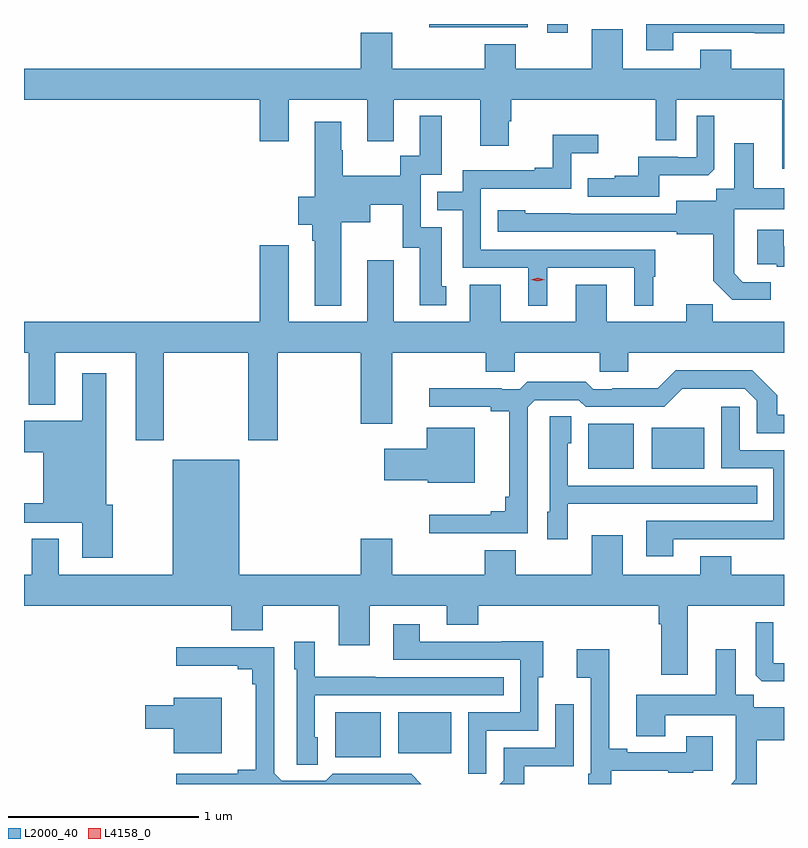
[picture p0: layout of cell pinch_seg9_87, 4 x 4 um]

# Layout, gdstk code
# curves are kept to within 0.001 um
import gdstk
lib = gdstk.Library(unit=1e-6, precision=1e-09)
def R(c, l, rs):  # rectangles x0, y0, x1, y1
    for r in rs: c.add(gdstk.rectangle(r[:2], r[2:], *l))
def P(c, l, *ps):  # polygons
    for p in ps: c.add(gdstk.Polygon(p, *l))
L2000_40 = (2000, 40)
L4158_0 = (4158, 0)

pinch_seg9_87 = lib.new_cell('pinch_seg9_87')
R(pinch_seg9_87, L2000_40, [(1111.925,1199.621,1112.164,1199.857), (1112.258,1199.642,1112.536,1199.857), (1113.257,1201.139,1113.496,1201.375), (1113.59,1201.139,1113.868,1201.354), (1113.041,1203.432,1113.15,1203.479), (1112.421,1203.462,1112.937,1203.479)])
P(pinch_seg9_87, L2000_40, [(1113.703,1203.432),(1114.133,1203.432),(1114.133,1203.431),(1114.287,1203.431),(1114.287,1203.479),(1113.563,1203.479),(1113.563,1203.342),(1113.703,1203.342)],
  [(1114.287,1203.244),(1114.009,1203.244),(1114.009,1203.343),(1113.845,1203.343),(1113.845,1203.244),(1113.439,1203.244),(1113.439,1203.451),(1113.275,1203.451),(1113.275,1203.244),(1112.875,1203.244),(1112.875,1203.373),(1112.711,1203.373),(1112.711,1203.244),(1112.224,1203.244),(1112.224,1203.433),(1112.06,1203.433),(1112.06,1203.244),(1110.287,1203.244),(1110.287,1203.08),(1111.529,1203.08),(1111.529,1202.862),(1111.681,1202.862),(1111.681,1203.08),(1112.093,1203.08),(1112.093,1202.862),(1112.233,1202.862),(1112.233,1203.08),(1112.687,1203.08),(1112.687,1202.838),(1112.839,1202.838),(1112.839,1202.967),(1112.852,1202.967),(1112.852,1203.08),(1113.612,1203.08),(1113.612,1202.866),(1113.72,1202.866),(1113.72,1203.08),(1114.277,1203.08),(1114.277,1202.718),(1114.287,1202.718)],
  [(1113.631,1202.684),(1113.889,1202.684),(1113.921,1202.715),(1113.921,1202.995),(1113.828,1202.995),(1113.828,1202.778),(1113.728,1202.778),(1113.728,1202.781),(1113.521,1202.781),(1113.521,1202.68),(1113.397,1202.68),(1113.397,1202.668),(1113.253,1202.668),(1113.253,1202.571),(1113.631,1202.571)],
  [(1111.957,1202.435),(1112.11,1202.435),(1112.11,1202.528),(1112.28,1202.528),(1112.28,1202.301),(1112.369,1202.301),(1112.369,1201.998),(1112.509,1201.998),(1112.509,1202.1),(1112.485,1202.1),(1112.485,1202.409),(1112.376,1202.409),(1112.376,1202.685),(1112.485,1202.685),(1112.485,1202.995),(1112.369,1202.995),(1112.369,1202.786),(1112.268,1202.786),(1112.268,1202.68),(1111.965,1202.68),(1111.965,1202.814),(1111.957,1202.814),(1111.957,1202.965),(1111.817,1202.965),(1111.817,1202.57),(1111.73,1202.57),(1111.73,1202.423),(1111.805,1202.423),(1111.805,1202.339),(1111.817,1202.339),(1111.817,1201.997),(1111.957,1201.997)],
  [(1113.04,1202.196),(1113.5,1202.196),(1113.5,1201.997),(1113.598,1201.997),(1113.598,1202.148),(1113.61,1202.148),(1113.61,1202.292),(1112.691,1202.292),(1112.691,1202.613),(1113.168,1202.613),(1113.168,1202.798),(1113.31,1202.798),(1113.31,1202.897),(1113.07,1202.897),(1113.07,1202.722),(1112.975,1202.722),(1112.975,1202.709),(1112.595,1202.709),(1112.595,1202.595),(1112.461,1202.595),(1112.461,1202.499),(1112.595,1202.499),(1112.595,1202.196),(1112.942,1202.196),(1112.942,1201.997),(1113.04,1201.997)],
  [(1114.216,1202.121),(1114.071,1202.121),(1114.024,1202.168),(1114.024,1202.263),(1114.026,1202.263),(1114.026,1202.504),(1114.287,1202.504),(1114.287,1202.614),(1114.129,1202.614),(1114.129,1202.851),(1114.025,1202.851),(1114.025,1202.612),(1113.93,1202.612),(1113.93,1202.548),(1113.719,1202.548),(1113.719,1202.481),(1112.925,1202.482),(1112.925,1202.5),(1112.781,1202.5),(1112.781,1202.385),(1113.723,1202.385),(1113.723,1202.373),(1113.915,1202.373),(1113.915,1202.127),(1114.015,1202.027),(1114.216,1202.027)],
  [(1114.287,1202.31),(1114.285,1202.31),(1114.285,1202.395),(1114.145,1202.395),(1114.145,1202.214),(1114.249,1202.214),(1114.249,1202.202),(1114.287,1202.202)],
  [(1111.023,1201.748),(1111.468,1201.748),(1111.468,1201.287),(1111.623,1201.287),(1111.623,1201.748),(1112.06,1201.748),(1112.06,1201.374),(1112.224,1201.374),(1112.224,1201.748),(1112.716,1201.748),(1112.716,1201.65),(1112.871,1201.65),(1112.871,1201.748),(1113.316,1201.748),(1113.316,1201.65),(1113.466,1201.65),(1113.466,1201.748),(1114.287,1201.748),(1114.287,1201.912),(1113.911,1201.912),(1113.911,1202.003),(1113.773,1202.003),(1113.773,1201.912),(1113.355,1201.912),(1113.355,1202.107),(1113.191,1202.107),(1113.191,1201.912),(1112.797,1201.912),(1112.797,1202.107),(1112.633,1202.107),(1112.633,1201.912),(1112.233,1201.912),(1112.233,1202.236),(1112.093,1202.236),(1112.093,1201.912),(1111.681,1201.912),(1111.681,1202.314),(1111.529,1202.314),(1111.529,1201.912),(1110.287,1201.912),(1110.287,1201.748),(1110.311,1201.748),(1110.311,1201.475),(1110.451,1201.475),(1110.451,1201.748),(1110.875,1201.748),(1110.875,1201.287),(1111.023,1201.287)],
  [(1112.937,1201.461),(1112.976,1201.5),(1113.207,1201.5),(1113.243,1201.464),(1113.657,1201.464),(1113.752,1201.559),(1114.08,1201.56),(1114.143,1201.497),(1114.143,1201.326),(1114.287,1201.326),(1114.287,1201.423),(1114.251,1201.423),(1114.251,1201.526),(1114.12,1201.656),(1113.717,1201.656),(1113.623,1201.562),(1113.382,1201.562),(1113.382,1201.557),(1113.282,1201.557),(1113.243,1201.597),(1112.935,1201.597),(1112.895,1201.557),(1112.801,1201.557),(1112.801,1201.562),(1112.421,1201.562),(1112.421,1201.464),(1112.744,1201.464),(1112.744,1201.442),(1112.84,1201.442),(1112.84,1200.991),(1112.821,1200.991),(1112.821,1200.914),(1112.744,1200.914),(1112.744,1200.895),(1112.421,1200.895),(1112.421,1200.798),(1112.937,1200.798)],
  [(1110.753,1200.948),(1110.721,1200.948),(1110.721,1201.642),(1110.593,1201.642),(1110.593,1201.39),(1110.287,1201.39),(1110.287,1201.226),(1110.389,1201.226),(1110.389,1200.956),(1110.287,1200.956),(1110.287,1200.855),(1110.593,1200.855),(1110.593,1200.669),(1110.753,1200.669)],
  [(1113.703,1200.768),(1114.133,1200.768),(1114.133,1200.767),(1114.287,1200.767),(1114.287,1201.236),(1114.053,1201.236),(1114.053,1201.465),(1113.957,1201.465),(1113.957,1201.14),(1114.23,1201.14),(1114.23,1200.864),(1113.563,1200.864),(1113.563,1200.678),(1113.703,1200.678)],
  [(1113.15,1200.953),(1113.467,1200.953),(1113.467,1200.954),(1114.145,1200.954),(1114.145,1201.05),(1113.15,1201.05),(1113.15,1201.272),(1113.166,1201.272),(1113.166,1201.415),(1113.054,1201.415),(1113.054,1200.912),(1113.041,1200.912),(1113.041,1200.768),(1113.15,1200.768)],
  [(1112.659,1201.354),(1112.408,1201.354),(1112.408,1201.243),(1112.184,1201.243),(1112.184,1201.078),(1112.412,1201.078),(1112.412,1201.064),(1112.659,1201.064)],
  [(1113.781,1200.416),(1114.287,1200.416),(1114.287,1200.58),(1114.009,1200.58),(1114.009,1200.679),(1113.845,1200.679),(1113.845,1200.58),(1113.439,1200.58),(1113.439,1200.787),(1113.275,1200.787),(1113.275,1200.58),(1112.875,1200.58),(1112.875,1200.709),(1112.711,1200.709),(1112.711,1200.58),(1112.224,1200.58),(1112.224,1200.769),(1112.06,1200.769),(1112.06,1200.58),(1111.42,1200.58),(1111.42,1201.186),(1111.07,1201.186),(1111.07,1200.58),(1110.469,1200.58),(1110.469,1200.77),(1110.329,1200.77),(1110.329,1200.58),(1110.287,1200.58),(1110.287,1200.416),(1111.379,1200.416),(1111.379,1200.288),(1111.543,1200.288),(1111.543,1200.416),(1111.943,1200.416),(1111.943,1200.21),(1112.107,1200.21),(1112.107,1200.416),(1112.513,1200.416),(1112.513,1200.317),(1112.677,1200.317),(1112.677,1200.416),(1113.629,1200.416),(1113.629,1200.32),(1113.641,1200.32),(1113.641,1200.054),(1113.781,1200.054)],
  [(1114.287,1200.114),(1114.23,1200.114),(1114.23,1200.331),(1114.137,1200.331),(1114.137,1200.051),(1114.169,1200.02),(1114.287,1200.02)],
  [(1112.721,1199.76),(1112.994,1199.76),(1112.994,1200.042),(1113.019,1200.042),(1113.019,1200.23),(1112.801,1200.23),(1112.801,1200.228),(1112.371,1200.228),(1112.371,1200.319),(1112.231,1200.319),(1112.231,1200.132),(1112.898,1200.132),(1112.898,1199.856),(1112.625,1199.856),(1112.625,1199.532),(1112.721,1199.532)],
  [(1111.834,1199.724),(1111.818,1199.724),(1111.818,1199.946),(1112.813,1199.946),(1112.813,1200.042),(1112.135,1200.042),(1112.135,1200.043),(1111.818,1200.043),(1111.818,1200.229),(1111.709,1200.229),(1111.709,1200.084),(1111.722,1200.084),(1111.722,1199.581),(1111.834,1199.581)],
  [(1112.325,1199.532),(1111.911,1199.532),(1111.875,1199.496),(1111.644,1199.496),(1111.605,1199.535),(1111.605,1200.198),(1111.089,1200.198),(1111.089,1200.101),(1111.412,1200.101),(1111.412,1200.082),(1111.489,1200.082),(1111.489,1200.005),(1111.508,1200.005),(1111.508,1199.555),(1111.412,1199.555),(1111.412,1199.532),(1111.089,1199.532),(1111.089,1199.479),(1112.379,1199.479)],
  [(1114.143,1199.709),(1114.287,1199.709),(1114.287,1199.884),(1114.128,1199.884),(1114.128,1199.948),(1114.033,1199.948),(1114.033,1200.187),(1113.929,1200.187),(1113.929,1199.95),(1113.509,1199.95),(1113.509,1199.731),(1113.661,1199.731),(1113.661,1199.84),(1114.032,1199.84),(1114.032,1199.599),(1114.034,1199.599),(1114.034,1199.504),(1114.009,1199.479),(1114.143,1199.479)],
  [(1113.379,1199.549),(1113.677,1199.549),(1113.677,1199.538),(1113.809,1199.538),(1113.809,1199.55),(1113.913,1199.55),(1113.913,1199.731),(1113.773,1199.731),(1113.773,1199.646),(1113.463,1199.646),(1113.463,1199.665),(1113.367,1199.665),(1113.367,1200.187),(1113.195,1200.187),(1113.195,1200.038),(1113.27,1200.038),(1113.27,1199.533),(1113.258,1199.533),(1113.258,1199.479),(1113.379,1199.479)],
  [(1111.327,1199.932),(1111.076,1199.932),(1111.076,1199.893),(1110.924,1199.893),(1110.924,1199.771),(1111.076,1199.771),(1111.076,1199.642),(1111.327,1199.642)],
  [(1112.919,1199.573),(1113.18,1199.573),(1113.18,1199.899),(1113.084,1199.899),(1113.084,1199.67),(1112.811,1199.67),(1112.811,1199.499),(1112.791,1199.479),(1112.919,1199.479)])
P(pinch_seg9_87, L4158_0, [(1112.991,1202.124),(1112.955,1202.133),(1112.955,1202.133),(1112.955,1202.133),(1112.991,1202.144),(1113.027,1202.134),(1113.027,1202.134),(1113.027,1202.134)])

lib.write_gds('pinch_seg9_87.gds')
